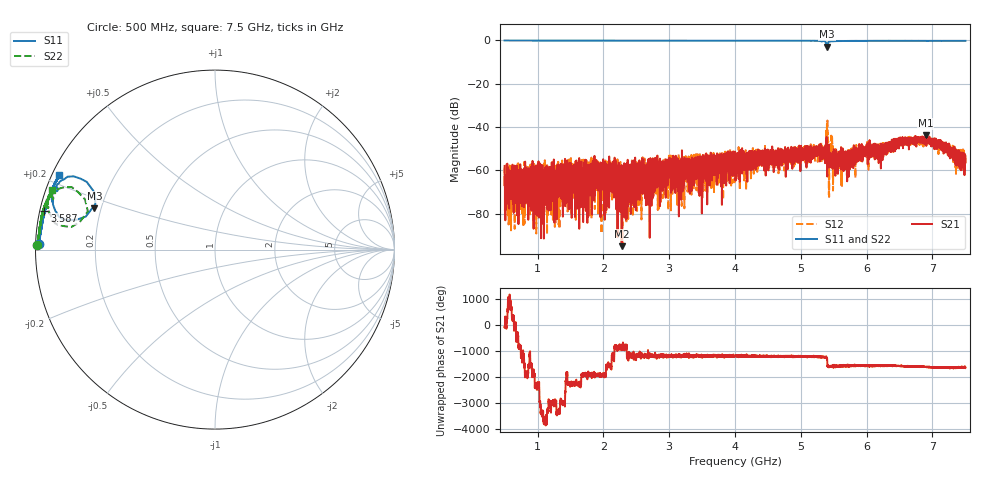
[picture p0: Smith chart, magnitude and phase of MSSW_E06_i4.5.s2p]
!Keysight Technologies,M9374A,MY55442783,A.12.55.05
!Date: Thursday, May 20, 2021 14:48:38
!Correction: S11(Full 2 Port(1,2))
!S21(Full 2 Port(1,2))
!S12(Full 2 Port(1,2))
!S22(Full 2 Port(1,2))
!S2P File: Measurements: S11, S21, S12, S22:
# Hz S  RI  R 50
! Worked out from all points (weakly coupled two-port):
!   7001 points, 500 MHz to 7.5 GHz, reference 50 ohm
!   highest |S21| = -43.90 dB at 6.898 GHz (marker M1); lowest = -94.9 dB at 2.278 GHz (marker M2)
!   lowest |S11| = -3.0 dB at 5.397 GHz (marker M3), VSWR 5.89, Z = 8.71 + j8.09 ohm
!   |S11| at or under -10 dB: nowhere
!   |S22| runs from -2.6 to -0.1 dB; largest |S21 - S12| = 0.014
!   S11 on the Smith chart (normalised r, x): 500 MHz: 0.01, +0.02; 3.587 GHz: 0.01, +0.11; 7.5 GHz: 0.02, +0.23
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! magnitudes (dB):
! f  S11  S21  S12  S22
! 500 MHz  -0.1  -57.9  -58.7  -0.1
! 545 MHz  -0.1  -66.0  -65.0  -0.1
! 696 MHz  -0.2  -63.9  -68.8  -0.1
! 757 MHz  -0.2  -69.1  -73.1  -0.1
! 829 MHz  -0.2  -60.0  -62.8  -0.1
! 1.068 GHz  -0.2  -60.8  -58.7  -0.1
! 1.667 GHz  -0.2  -56.4  -55.2  -0.1
! 1.879 GHz  -0.2  -64.4  -58.6  -0.1
! 2.001 GHz  -0.2  -58.2  -57.9  -0.1
! 2.201 GHz  -0.2  -61.6  -64.4  -0.1
! 2.278 GHz  -0.2  -94.9  -78.2  -0.1
! 2.834 GHz  -0.2  -58.2  -57.5  -0.1
! 3.587 GHz  -0.2  -56.3  -56.2  -0.2
! 4 GHz  -0.2  -51.3  -53.8  -0.2
! 5.167 GHz  -0.3  -50.5  -52.2  -0.2
! 5.347 GHz  -0.4  -51.6  -50.3  -0.3
! 5.382 GHz  -1.2  -53.2  -54.6  -1.0
! 5.397 GHz  -3.0  -49.1  -37.6  -2.6
! 5.52 GHz  -0.4  -57.8  -54.0  -0.4
! 6.334 GHz  -0.3  -48.8  -51.1  -0.2
! 6.898 GHz  -0.3  -43.9  -45.6  -0.3
! 7.5 GHz  -0.3  -54.7  -56.0  -0.3
